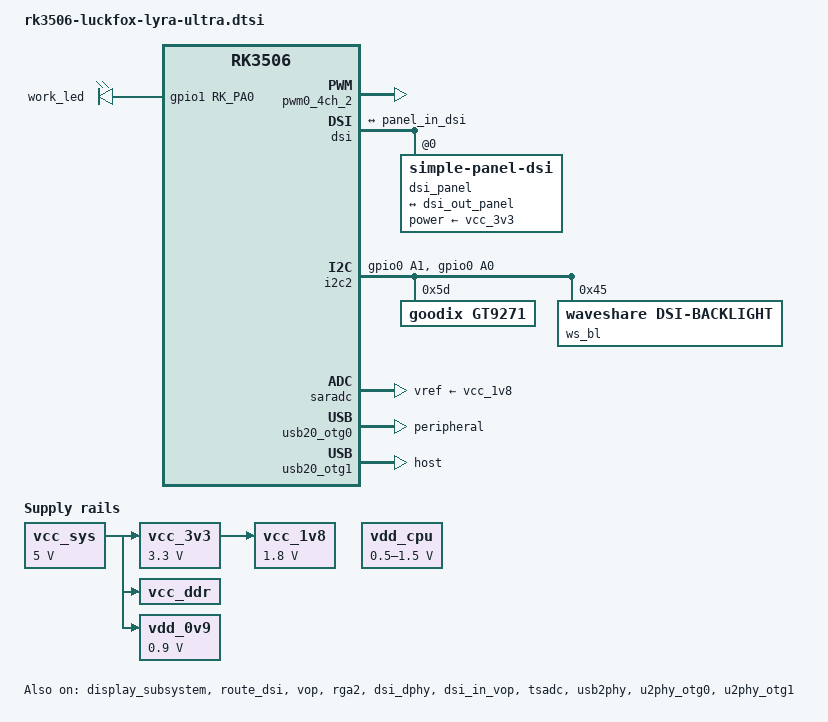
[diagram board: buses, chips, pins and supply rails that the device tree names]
// SPDX-License-Identifier: (GPL-2.0+ OR MIT)
/*
 * Copyright (c) 2024 Rockchip Electronics Co., Ltd.
 */

/dts-v1/;


#include <dt-bindings/pinctrl/rockchip.h>
#include <dt-bindings/display/drm_mipi_dsi.h>
#include <dt-bindings/display/rockchip_vop.h>
#include <dt-bindings/input/rk-input.h>
#include <dt-bindings/sensor-dev.h>
#include <dt-bindings/suspend/rockchip-rk3506.h>
#include "rk3506.dtsi"

/ {
	backlight: backlight {
		compatible = "pwm-backlight";
		pwms = <&pwm0_4ch_2 0 25000 0>;
		brightness-levels = <
			  0  20  20  21  21  22  22  23
			 23  24  24  25  25  26  26  27
			 27  28  28  29  29  30  30  31
			 31  32  32  33  33  34  34  35
			 35  36  36  37  37  38  38  39
			 40  41  42  43  44  45  46  47
			 48  49  50  51  52  53  54  55
			 56  57  58  59  60  61  62  63
			 64  65  66  67  68  69  70  71
			 72  73  74  75  76  77  78  79
			 80  81  82  83  84  85  86  87
			 88  89  90  91  92  93  94  95
			 96  97  98  99 100 101 102 103
			104 105 106 107 108 109 110 111
			112 113 114 115 116 117 118 119
			120 121 122 123 124 125 126 127
			128 129 130 131 132 133 134 135
			136 137 138 139 140 141 142 143
			144 145 146 147 148 149 150 151
			152 153 154 155 156 157 158 159
			160 161 162 163 164 165 166 167
			168 169 170 171 172 173 174 175
			176 177 178 179 180 181 182 183
			184 185 186 187 188 189 190 191
			192 193 194 195 196 197 198 199
			200 201 202 203 204 205 206 207
			208 209 210 211 212 213 214 215
			216 217 218 219 220 221 222 223
			224 225 226 227 228 229 230 231
			232 233 234 235 236 237 238 239
			240 241 242 243 244 245 246 247
			248 249 250 251 252 253 254 255
		>;
		default-brightness-level = <200>;
		status = "disabled";
	};

	adc_keys: adc-keys {
		compatible = "adc-keys";
		io-channels = <&saradc 1>;
		io-channel-names = "buttons";
		keyup-threshold-microvolt = <1800000>;
		poll-interval = <100>;
	};

	fiq_debugger: fiq-debugger {
		compatible = "rockchip,fiq-debugger";
		rockchip,serial-id = <0>;
		rockchip,wake-irq = <0>;
		rockchip,irq-mode-enable = <1>;
		rockchip,baudrate = <1500000>;	/* Only 115200 and 1500000 */
		interrupts = <GIC_SPI 115 IRQ_TYPE_LEVEL_HIGH>;
	};

	leds: leds {
		compatible = "gpio-leds";
		work_led: work-led {
			gpios = <&gpio1 RK_PA0 GPIO_ACTIVE_HIGH>;
			linux,default-trigger = "heartbeat";
		};
	};

	vcc_sys: vcc-sys {
		compatible = "regulator-fixed";
		regulator-name = "vcc_sys";
		regulator-always-on;
		regulator-boot-on;
		regulator-min-microvolt = <5000000>;
		regulator-max-microvolt = <5000000>;
	};

	vcc_3v3: vcc-3v3 {
		compatible = "regulator-fixed";
		regulator-name = "vcc_3v3";
		regulator-always-on;
		regulator-boot-on;
		regulator-min-microvolt = <3300000>;
		regulator-max-microvolt = <3300000>;
		vin-supply = <&vcc_sys>;
	};

	vcc_1v8: vcc-1v8 {
		compatible = "regulator-fixed";
		regulator-name = "vcc_1v8";
		regulator-always-on;
		regulator-boot-on;
		regulator-min-microvolt = <1800000>;
		regulator-max-microvolt = <1800000>;
		vin-supply = <&vcc_3v3>;
	};

	//1.8V
	vcc_ddr: vcc-ddr {
		compatible = "regulator-fixed";
		regulator-name = "vcc_ddr";
		regulator-always-on;
		regulator-boot-on;
		vin-supply = <&vcc_sys>;
	};

	vdd_0v9: vdd-0v9 {
		compatible = "regulator-fixed";
		regulator-name = "vdd_0v9";
		regulator-always-on;
		regulator-boot-on;
		regulator-min-microvolt = <900000>;
		regulator-max-microvolt = <900000>;
		vin-supply = <&vcc_sys>;
	};

	vdd_cpu: vdd-cpu {
		compatible = "regulator-fixed";
		regulator-name = "vdd_cpu";
		regulator-boot-on;
		regulator-always-on;
		regulator-min-microvolt = <500000>;
		regulator-max-microvolt = <1500000>;
		vin-supply = <&vdd_cpu>;
	};
};

/**********cpu**********/
&cpu0 {
	cpu-supply = <&vdd_cpu>;
	status = "okay";
};

/**********display**********/
&cma {
	size = <0x2000000>;
};

&display_subsystem {
	logo-memory-region = <&drm_logo>;
	status = "okay";
};

&route_dsi{
	status = "okay";
};

&vop {
	status = "okay";
};

&rga2 {
	status = "okay";
};

&pwm0_4ch_2 {
	pinctrl-names = "active";
	pinctrl-0 = <&rm_io15_pwm0_ch2>;
	status = "okay";
};

&dsi {
	status = "okay";

	dsi_panel: panel@0 {
		status = "okay";
		compatible = "simple-panel-dsi";
		reg = <0>;
		//backlight = <&backlight>;

		//reset-gpios = <&gpio0 RK_PB5 GPIO_ACTIVE_LOW>;
		prepare-delay-ms = <120>;
		reset-delay-ms = <120>;
		init-delay-ms = <120>;
		disable-delay-ms = <120>;
		unprepare-delay-ms = <120>;

		dsi,flags = <(MIPI_DSI_MODE_VIDEO | MIPI_DSI_MODE_VIDEO_BURST | MIPI_DSI_MODE_LPM | MIPI_DSI_MODE_NO_EOT_PACKET )>;
		dsi,format = <MIPI_DSI_FMT_RGB888>;
		dsi,lanes  = <2>;

		width-mm = <135>;
		height-mm = <216>;
                
                // 10.1-inch JD9366 (800x1280) 初始化序列
		panel-init-sequence = [
			/* Page 1 */
			39 00 02 30 01
			39 00 05 78 49 61 02 00
			/* Page 2 */
			39 00 02 30 02
			39 00 02 31 12
			39 00 02 32 08
			39 00 02 33 3f
			39 00 02 3c 04
			39 00 02 3d 78
			39 00 02 3e 43
			39 00 02 3f 30
			39 00 02 42 a2
			39 00 02 43 f0
			39 00 02 44 01
			39 00 02 46 17
			39 00 02 49 c0
			39 00 02 6d 30
			39 00 02 6e 21
			39 00 0d 41 5b 5b 03 03 5b 5b 02 02 03 03 03 03
			39 00 0c 5a 00 00 34 34 31 31 23 23 24 24 23
			39 00 0c 5b 23 0b 0b 09 09 0f 0f 0d 0d 06 06
			39 00 0c 5c 00 00 34 34 31 31 23 23 24 24 23
			39 00 0c 5d 23 0a 0a 08 08 0e 0e 0c 0c 05 05
			39 00 0c 5e 00 00 31 31 34 34 23 23 24 24 23
			39 00 0c 5f 23 0c 0c 0e 0e 08 08 0a 0a 05 05
			39 00 0c 60 00 00 31 31 34 34 23 23 24 24 23
			39 00 0c 61 23 0d 0d 0f 0f 09 09 0b 0b 06 06
			39 00 04 64 ff ff 3f
			39 00 04 65 ff ff 3f
			39 00 04 6f 03 00 00
			39 00 04 70 03 00 00
			39 00 04 71 00 00 80
			39 00 04 72 00 00 00
			39 00 03 4c 22 22
			39 00 02 73 2a
			39 00 03 4e 00 00
			39 00 03 50 00 00
			39 00 03 55 ff ff
			39 00 03 56 ff ff
			39 00 03 57 00 00
			39 00 03 58 ff ff
			39 00 03 66 ff ff
			39 00 03 67 ff ff
			39 00 02 4a 3f
			/* Page 8 */
			39 00 02 30 08
			39 00 02 31 65
			39 00 02 33 05
			39 00 02 40 50
			39 00 02 41 80
			39 00 02 42 1a
			39 00 02 47 0a
			39 00 02 48 0d
			39 00 02 50 17
			39 00 02 5a 20
			39 00 02 5b 00
			39 00 02 5c 53
			39 00 02 5D 0D
			39 00 02 5F 01
			39 00 02 62 04
			39 00 02 65 5f
			39 00 02 73 01
			/* Page A */
			39 00 02 30 0a
			39 00 02 32 ff
			39 00 02 33 28
			39 00 02 3f 53
			39 00 02 40 15
			39 00 02 47 20
			39 00 02 48 80
			39 00 02 49 03
			/* Page B Gamma */
			39 00 02 30 0b
			39 00 03 33 00 3d
			39 00 03 3c 00 bf
			39 00 02 43 b1
			39 00 02 44 31
			39 00 06 3e 00 10 1e 27 2f
			39 00 0f 3f 54 6f 73 7c 77 91 90 99 a8 a5 ae b5 c5 b8
			39 00 0a 40 52 52 53 7f 00 10 1e 27 2f
			39 00 0f 41 54 6f 73 7c 77 91 98 99 a8 a5 ae b5 c5 b8
			39 00 05 42 52 52 53 7f
			39 00 02 45 70
			39 00 02 46 3b
			39 00 02 48 7c
			39 00 02 49 1e
			39 00 02 4a 3a
			/* Page C */
			39 00 02 30 0c
			39 00 02 32 62
			39 00 02 71 77
			/* Page D */
			39 00 02 30 0d
			39 00 02 4c 74
			/* Back to Page 0 */
			39 00 02 30 00
			/* TE on */
			39 00 02 35 00
			/* Sleep out */
			05 78 01 11
			/* Display on */
			05 14 01 29
		];


		disp_timings0: display-timings {
			native-mode = <&dsi_timing0>;

			dsi_timing0: timing0 {
				clock-frequency = <76000000>;//60fps

				hactive = <800>;
				vactive = <1280>;

				vsync-len = <8>;
				vback-porch = <140>;
				vfront-porch = <20>;

				hsync-len = <8>;
				hback-porch = <40>;
				hfront-porch = <28>;

				vsync-active = <0>;
				hsync-active = <0>;
				de-active = <0>;
				pixelclk-active = <0>;
			};
			
		};


		ports {
			#address-cells = <1>;
			#size-cells = <0>;

			port@0 {
				reg = <0>;
				panel_in_dsi: endpoint {
					remote-endpoint = <&dsi_out_panel>;
				};
			};
		};
	};

	ports {
		#address-cells = <1>;
		#size-cells = <0>;

		port@1 {
			reg = <1>;
			dsi_out_panel: endpoint {
				remote-endpoint = <&panel_in_dsi>;
			};
		};
	};

};

&dsi_dphy {
	status = "okay";
};

&dsi_in_vop {
	status = "okay";
};

&dsi_panel {
	power-supply = <&vcc_3v3>;
};

/**********TP**********/
&i2c2{
	status = "okay";
	pinctrl-names = "default";
	pinctrl-0 = <&rm_io1_i2c2_scl &rm_io0_i2c2_sda>;

	gt9271: gt9271@5d {
		status = "okay";
		compatible = "goodix,gt9271";
		reg = <0x5d>;
		pinctrl-names = "default";
	};

	ws_bl: ws-bl@45 {
		status = "okay";
		compatible = "waveshare,dsi-backlight";
		reg = <0x45>;
		default-brightness-level = <200>;
		max-brightness-level = <255>;
		min-brightness-level = <5>;
	};

};

&pinctrl {
	rm_io0 {
		rm_io0_i2c2_sda: rm-io0-i2c2-sda {
			rockchip,pins =
				<0 RK_PA0 35 &pcfg_pull_up>;
		};
	};

	rm_io1 {
		rm_io1_i2c2_scl: rm-io1-i2c2-scl {
			rockchip,pins =
				<0 RK_PA1 34 &pcfg_pull_up>;
		};
	};
};

/**********adc**********/
&saradc {
	vref-supply = <&vcc_1v8>;
	status = "okay";
};

&tsadc {
	pinctrl-names = "gpio", "otpout";
	pinctrl-0 = <&wdt_tsadc_gpio>;
	pinctrl-1 = <&rm_io21_wdt_tsadc_shut>;

	status = "okay";
};

/**********usb**********/
&usb20_otg0 {
	dr_mode = "peripheral";
	/* vbus-supply = <&vcc5v0_otg0>;
	rockchip,gpio-vbus-det; */
	status = "okay";
};

&usb20_otg1 {
	dr_mode = "host";
	status = "okay";
};

&usb2phy {
	/* extcon = <&extcon_usb>; */
	status = "okay";
};

&u2phy_otg0 {
	status = "okay";
};

&u2phy_otg1 {
	status = "okay";
};

/**********pinctrl**********/
&pinctrl {
	sdmmc {
		/omit-if-no-ref/
		sdmmc_pwren: sdmmc-pwren {
			rockchip,pins = <1 RK_PB7 RK_FUNC_GPIO &pcfg_pull_down>;
		};

		sdmmc_det: sdmmc-det {
			rockchip,pins = <1 RK_PB6 RK_FUNC_GPIO &pcfg_pull_up>;
		};
	};

	tsadc {
		wdt_tsadc_gpio: wdt-tsadc-gpio {
			rockchip,pins = <0 RK_PC5 RK_FUNC_GPIO &pcfg_pull_none>;
		};
	};
};
